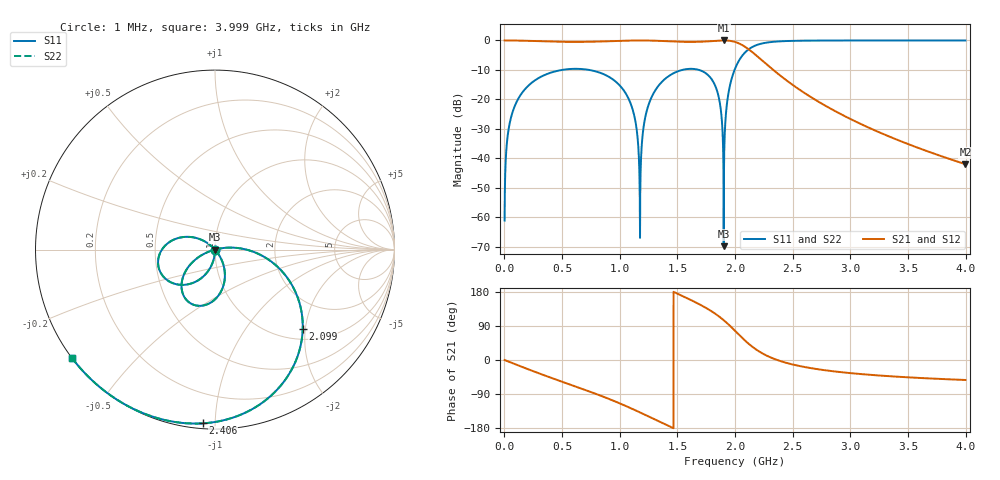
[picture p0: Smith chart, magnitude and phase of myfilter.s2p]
! Export of Touchstone Data from mwave.py Module Author: S.F. Peik
!Touchstone file created by python mwave
! symbol freq-unit parameter-type data-format keyword impedance-ohm
#  HZ  S  RI  R  50
! freq  reS11  imS11  reS21  imS21  reS12  imS12  reS22  imS22
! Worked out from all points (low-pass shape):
!   3999 points, 1 MHz to 3.999 GHz, reference 50 ohm
!   highest |S21| = 0.00 dB at 1.902 GHz (marker M1); lowest = -42.0 dB at 3.999 GHz (marker M2)
!   |S21| within 3 dB of the highest: start of sweep to 2.118 GHz
!   lowest |S11| = -69.9 dB at 1.902 GHz (marker M3), VSWR 1.00, Z = 50 - j0.00831 ohm
!   |S11| at or under -10 dB: start of sweep to 501.4 MHz; 732.4 MHz to 1.544 GHz (811.3 MHz wide, 71.3 % of centre); 1.686 GHz to 1.996 GHz (309.9 MHz wide, 16.8 % of centre)
!   |S22| runs from -69.9 to 0.0 dB; largest |S21 - S12| = 0
!   S11 on the Smith chart (normalised r, x): 1 MHz: 1.00, -0.00; 2.099 GHz: 1.25, -1.93; 2.406 GHz: 0.03, -0.93; 3.999 GHz: 0.00, -0.34
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1000000  -1.84e-06 -0.000873  1 -0.0021  1 -0.0021  -1.84e-06 -0.000873
2.2e7  -0.000888 -0.0192  0.9987 -0.0462  0.9987 -0.0462  -0.000888 -0.0192
3.8e7  -0.00264 -0.033  0.9963 -0.0797  0.9963 -0.0797  -0.00264 -0.033
1.32e8  -0.0307 -0.1083  0.956 -0.271  0.956 -0.271  -0.0307 -0.1083
3.47e8  -0.1682 -0.1961  0.7332 -0.6291  0.7332 -0.6291  -0.1682 -0.1961
6.68e8  -0.3168 -0.082  0.2367 -0.9148  0.2367 -0.9148  -0.3168 -0.082
1.05e9  -0.1096 0.0659  -0.511 -0.85  -0.511 -0.85  -0.1096 0.0659
1.129e9  -0.037 0.033  -0.6653 -0.745  -0.6653 -0.745  -0.037 0.033
1.175e9  -0.000424 0.000475  -0.7456 -0.6664  -0.7456 -0.6664  -0.000424 0.000475
1.23e9  0.033 -0.049  -0.828 -0.5577  -0.828 -0.5577  0.033 -0.049
1.334e9  0.0546 -0.1587  -0.9322 -0.3207  -0.9322 -0.3207  0.0546 -0.1587
1.544e9  -0.0608 -0.3104  -0.931 0.1822  -0.931 0.1822  -0.0608 -0.3104
1.757e9  -0.1862 -0.1923  -0.6921 0.6703  -0.6921 0.6703  -0.1862 -0.1923
1.851e9  -0.1118 -0.0576  -0.4541 0.882  -0.4541 0.882  -0.1118 -0.0576
1.902e9  -0.000309 -8.32e-05  -0.2595 0.9657  -0.2595 0.9657  -0.000309 -8.32e-05
1.943e9  0.1263 0.00887  -0.0695 0.9895  -0.0695 0.9895  0.1263 0.00887
2e9  0.3216 -0.0728  0.2084 0.9208  0.2084 0.9208  0.3216 -0.0728
2.099e9  0.4888 -0.4401  0.504 0.5597  0.504 0.5597  0.4888 -0.4401
2.406e9  -0.068 -0.968  0.2408 -0.0169  0.2408 -0.0169  -0.068 -0.968
2.667e9  -0.3708 -0.9226  0.0989 -0.0397  0.0989 -0.0397  -0.3708 -0.9226
3.333e9  -0.6771 -0.7355  0.0173 -0.016  0.0173 -0.016  -0.6771 -0.7355
3.999e9  -0.7957 -0.6057  0.0048 -0.0063  0.0048 -0.0063  -0.7957 -0.6057
